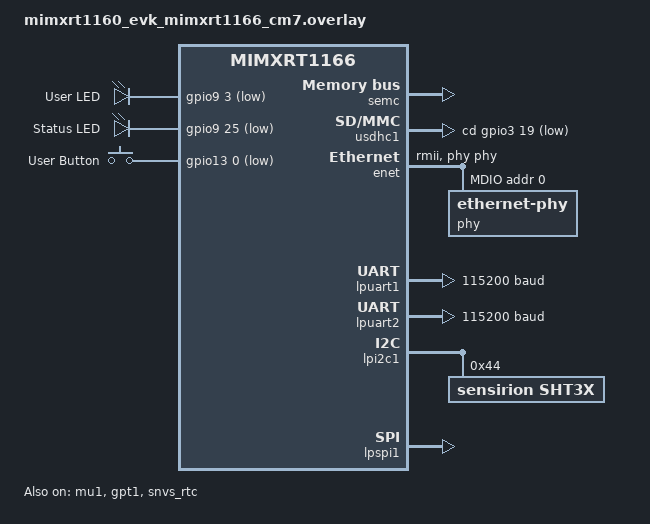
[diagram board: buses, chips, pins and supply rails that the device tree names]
/*
 * M7 Core Device Tree Overlay
 * MIMXRT1160-EVK Board Configuration
 */

/ {
    /* Shared memory for OpenAMP IPC */
    vdev0_shm: vdev0_shm@200c0000 {
        compatible = "mmio-sram";
        reg = <0x200c0000 0x4000>; /* 16KB shared memory */
    };

    /* Reserved memory regions */
    reserved-memory {
        #address-cells = <1>;
        #size-cells = <1>;
        ranges;

        /* M4 code region */
        m4_code: m4_code@20200000 {
            reg = <0x20200000 0x40000>; /* 256KB for M4 code */
            no-map;
        };

        /* Shared data region */
        shared_data: shared_data@20240000 {
            reg = <0x20240000 0x10000>; /* 64KB for shared data */
        };
    };

    /* Aliases for easier access */
    aliases {
        led0 = &user_led;
        sw0 = &user_button;
        modbus0 = &lpuart1;
        console = &lpuart1;
    };

    /* LEDs */
    leds {
        compatible = "gpio-leds";
        user_led: led_0 {
            gpios = <&gpio9 3 GPIO_ACTIVE_LOW>;
            label = "User LED";
        };
        status_led: led_1 {
            gpios = <&gpio9 25 GPIO_ACTIVE_LOW>;
            label = "Status LED";
        };
    };

    /* Buttons */
    gpio_keys {
        compatible = "gpio-keys";
        user_button: button_0 {
            gpios = <&gpio13 0 GPIO_ACTIVE_LOW>;
            label = "User Button";
        };
    };
};

/* Enable MU1 for inter-core communication */
&mu1 {
    status = "okay";
};

/* Enable SEMC for external memory */
&semc {
    status = "okay";
};

/* Enable SD card interface */
&usdhc1 {
    status = "okay";
    cd-gpios = <&gpio3 19 GPIO_ACTIVE_LOW>;
    pwr-gpios = <&gpio3 16 GPIO_ACTIVE_HIGH>;
    pinctrl-0 = <&pinmux_usdhc1>;
    pinctrl-names = "default";
};

/* Enable Ethernet for network communication */
&enet {
    status = "okay";
    pinctrl-0 = <&pinmux_enet>;
    pinctrl-names = "default";
    phy-mode = "rmii";
    phy-handle = <&phy>;

    mdio {
        #address-cells = <1>;
        #size-cells = <0>;

        phy: phy@0 {
            compatible = "ethernet-phy";
            reg = <0>;
        };
    };
};

/* Enable LPUART1 for Modbus RTU */
&lpuart1 {
    status = "okay";
    current-speed = <115200>;
    pinctrl-0 = <&pinmux_lpuart1>;
    pinctrl-names = "default";
};

/* Enable LPUART2 for debug console */
&lpuart2 {
    status = "okay";
    current-speed = <115200>;
};

/* Enable I2C1 for sensors */
&lpi2c1 {
    status = "okay";
    pinctrl-0 = <&pinmux_lpi2c1>;
    pinctrl-names = "default";

    /* Temperature/Humidity sensor */
    sht3x@44 {
        compatible = "sensirion,sht3x";
        reg = <0x44>;
        label = "SHT3X";
    };
};

/* Enable SPI for high-speed communication */
&lpspi1 {
    status = "okay";
    pinctrl-0 = <&pinmux_lpspi1>;
    pinctrl-names = "default";
};

/* Enable GPT1 for timing */
&gpt1 {
    status = "okay";
};

/* Enable RTC */
&snvs_rtc {
    status = "okay";
};

/* GPIO configuration */
&gpio_ad_04 {
    status = "okay";
};

&gpio9 {
    status = "okay";
};

&gpio13 {
    status = "okay";
};

/* Chosen node for Zephyr configuration */
/chosen {
    zephyr,console = &lpuart2;
    zephyr,shell-uart = &lpuart2;
    zephyr,ipc-shm = &vdev0_shm;
    zephyr,sram = &ocram;
    zephyr,flash = &flash0;
};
